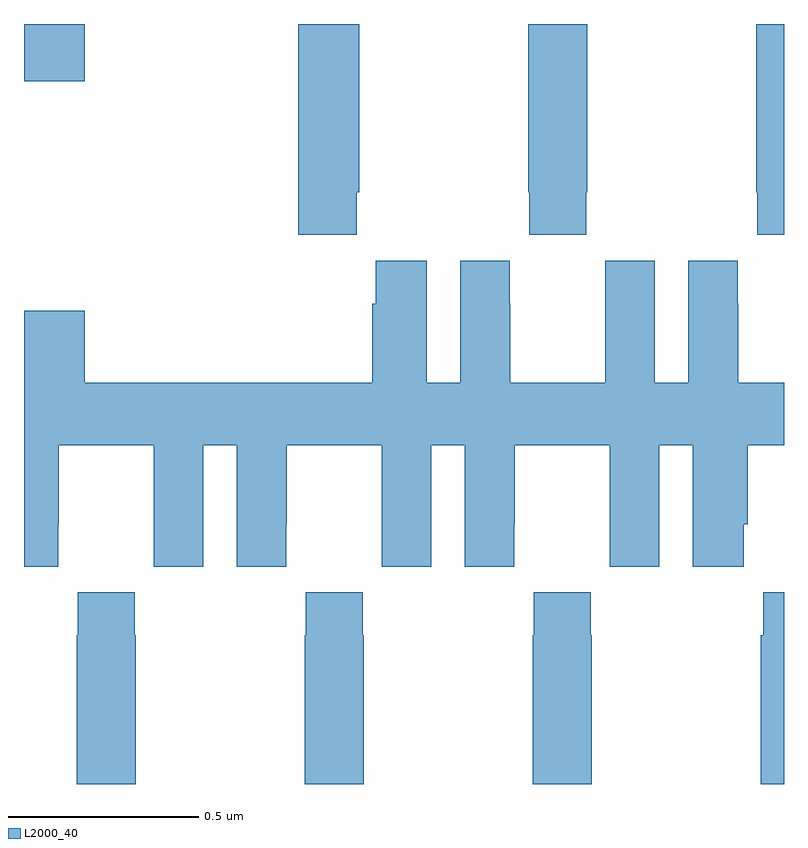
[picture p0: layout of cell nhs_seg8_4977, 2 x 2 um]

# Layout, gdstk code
import gdstk
lib = gdstk.Library(unit=1e-6, precision=1e-09)
def R(c, l, rs):  # rectangles x0, y0, x1, y1
    for r in rs: c.add(gdstk.rectangle(r[:2], r[2:], *l))
def P(c, l, *ps):  # polygons
    for p in ps: c.add(gdstk.Polygon(p, *l))
L2000_40 = (2000, 40)

nhs_seg8_4977 = lib.new_cell('nhs_seg8_4977')
R(nhs_seg8_4977, L2000_40, [(177,1158.75,177.16,1158.9)])
P(nhs_seg8_4977, L2000_40, [(179,1158.9),(178.927,1158.9),(178.927,1158.457),(178.929,1158.457),(178.929,1158.345),(179,1158.345)],
  [(178.479,1158.457),(178.482,1158.457),(178.482,1158.9),(178.327,1158.9),(178.327,1158.457),(178.329,1158.457),(178.329,1158.345),(178.479,1158.345)],
  [(177.875,1158.457),(177.882,1158.457),(177.882,1158.9),(177.722,1158.9),(177.722,1158.345),(177.875,1158.345)],
  [(178.148,1157.956),(178.06,1157.956),(178.06,1158.277),(177.926,1158.277),(177.926,1158.164),(177.917,1158.164),(177.917,1157.956),(177.16,1157.956),(177.16,1158.145),(177,1158.145),(177,1157.472),(177.09,1157.472),(177.09,1157.584),(177.091,1157.584),(177.091,1157.792),(177.341,1157.792),(177.341,1157.584),(177.342,1157.584),(177.342,1157.472),(177.472,1157.472),(177.472,1157.792),(177.56,1157.792),(177.56,1157.472),(177.69,1157.472),(177.69,1157.584),(177.691,1157.584),(177.691,1157.792),(177.941,1157.792),(177.941,1157.584),(177.942,1157.584),(177.942,1157.472),(178.072,1157.472),(178.072,1157.792),(178.16,1157.792),(178.16,1157.472),(178.29,1157.472),(178.29,1157.584),(178.291,1157.584),(178.291,1157.792),(178.541,1157.792),(178.541,1157.584),(178.542,1157.584),(178.542,1157.472),(178.672,1157.472),(178.672,1157.792),(178.76,1157.792),(178.76,1157.472),(178.894,1157.472),(178.894,1157.584),(178.904,1157.584),(178.904,1157.792),(179,1157.792),(179,1157.956),(178.879,1157.956),(178.879,1158.164),(178.878,1158.164),(178.878,1158.277),(178.748,1158.277),(178.748,1157.956),(178.66,1157.956),(178.66,1158.277),(178.53,1158.277),(178.53,1158.164),(178.529,1158.164),(178.529,1157.956),(178.279,1157.956),(178.279,1158.164),(178.278,1158.164),(178.278,1158.277),(178.148,1158.277)],
  [(178.494,1157.291),(178.491,1157.291),(178.491,1157.404),(178.341,1157.404),(178.341,1157.291),(178.339,1157.291),(178.339,1156.9),(178.494,1156.9)],
  [(179,1157.404),(178.945,1157.404),(178.945,1157.291),(178.939,1157.291),(178.939,1156.9),(179,1156.9)],
  [(177.294,1157.291),(177.291,1157.291),(177.291,1157.404),(177.141,1157.404),(177.141,1157.291),(177.139,1157.291),(177.139,1156.9),(177.294,1156.9)],
  [(177.894,1157.291),(177.891,1157.291),(177.891,1157.404),(177.741,1157.404),(177.741,1157.291),(177.739,1157.291),(177.739,1156.9),(177.894,1156.9)])

lib.write_gds('nhs_seg8_4977.gds')
